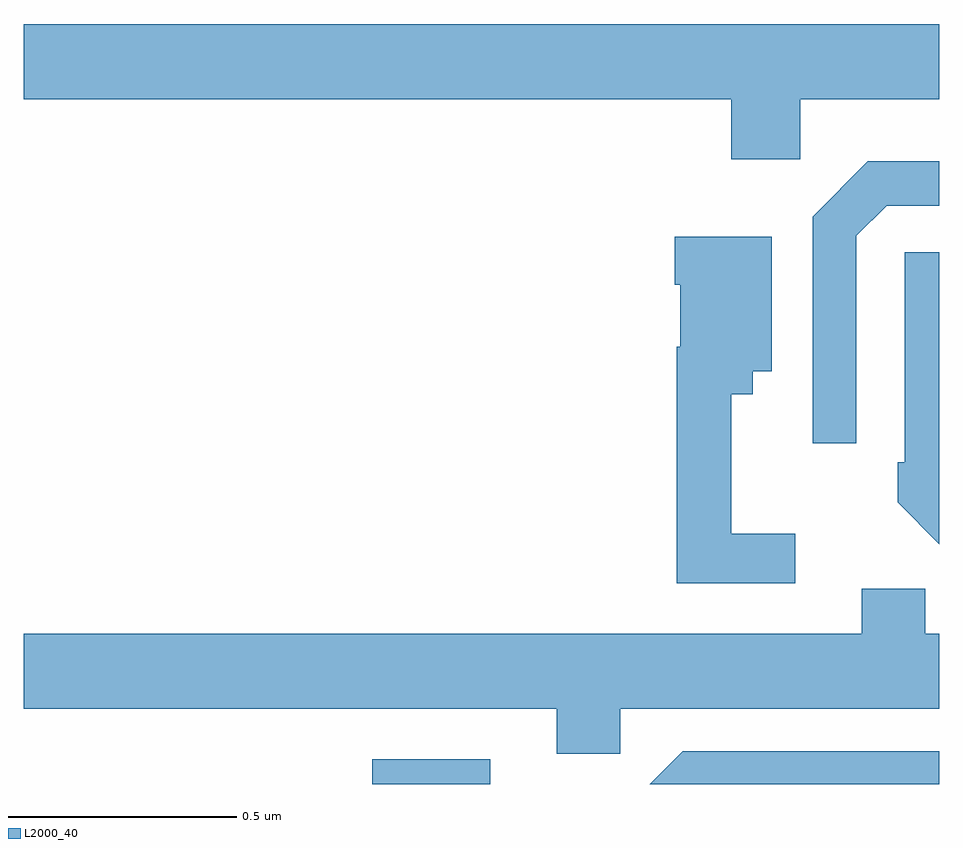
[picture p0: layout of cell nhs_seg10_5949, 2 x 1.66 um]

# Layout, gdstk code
import gdstk
lib = gdstk.Library(unit=1e-6, precision=1e-09)
def R(c, l, rs):  # rectangles x0, y0, x1, y1
    for r in rs: c.add(gdstk.rectangle(r[:2], r[2:], *l))
def P(c, l, *ps):  # polygons
    for p in ps: c.add(gdstk.Polygon(p, *l))
L2000_40 = (2000, 40)

nhs_seg10_5949 = lib.new_cell('nhs_seg10_5949')
R(nhs_seg10_5949, L2000_40, [(185.761,1285.5,186.019,1285.554)])
P(nhs_seg10_5949, L2000_40, [(186.696,1286.996),(187,1286.996),(187,1287.16),(185,1287.16),(185,1286.996),(186.545,1286.996),(186.545,1286.865),(186.696,1286.865)],
  [(186.819,1286.697),(186.885,1286.763),(187,1286.763),(187,1286.86),(186.844,1286.86),(186.723,1286.739),(186.723,1286.244),(186.819,1286.244)],
  [(186.685,1286.047),(186.545,1286.047),(186.545,1286.351),(186.592,1286.351),(186.592,1286.402),(186.634,1286.402),(186.634,1286.695),(186.422,1286.695),(186.422,1286.591),(186.434,1286.591),(186.434,1286.455),(186.427,1286.455),(186.427,1285.938),(186.685,1285.938)],
  [(187,1286.661),(186.924,1286.661),(186.924,1286.203),(186.909,1286.203),(186.909,1286.115),(187,1286.024)],
  [(186.303,1285.664),(187,1285.664),(187,1285.828),(186.969,1285.828),(186.969,1285.926),(186.83,1285.926),(186.83,1285.828),(185,1285.828),(185,1285.664),(186.164,1285.664),(186.164,1285.566),(186.303,1285.566)],
  [(187,1285.572),(186.44,1285.572),(186.368,1285.5),(187,1285.5)])

lib.write_gds('nhs_seg10_5949.gds')
